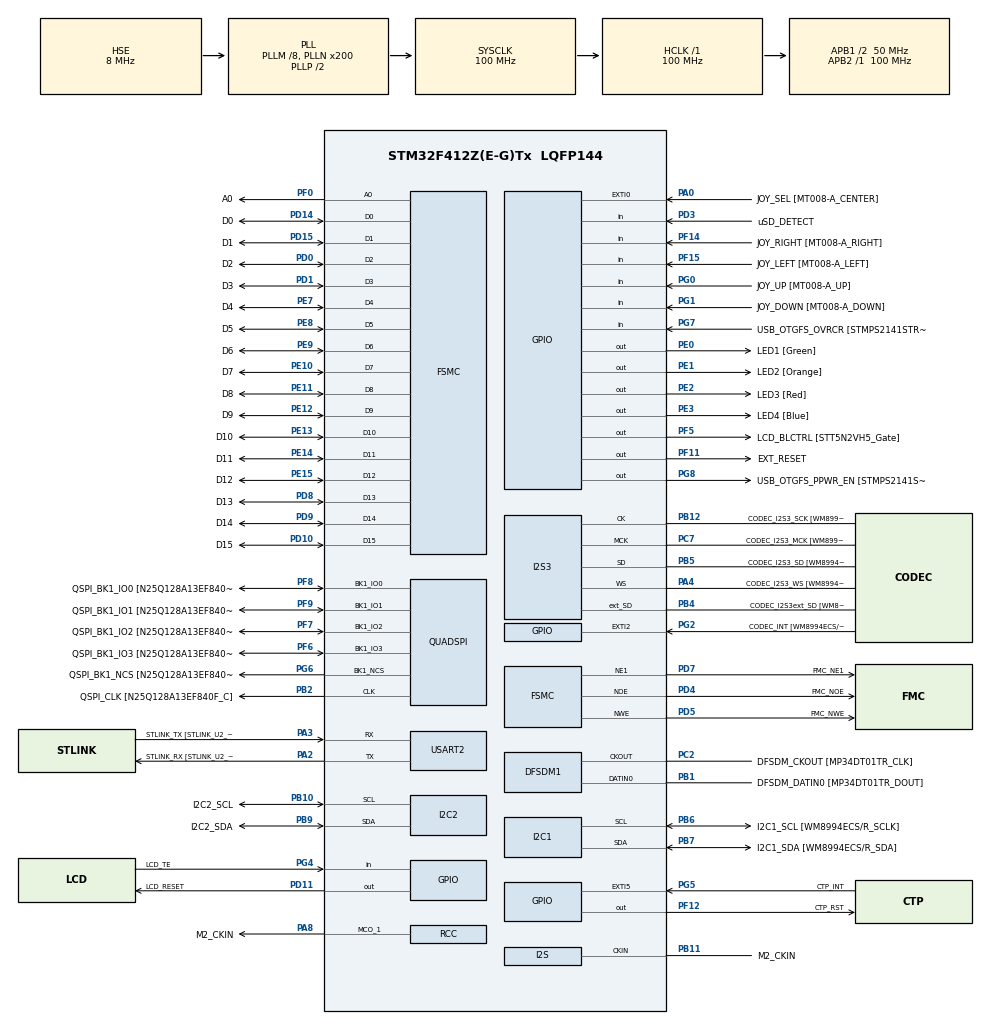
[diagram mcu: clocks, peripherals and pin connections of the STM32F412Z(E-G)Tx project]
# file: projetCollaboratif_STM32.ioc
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DFSDM1.Divider=24
DFSDM1.DmaMode_reg_FIL0=ENABLE
DFSDM1.DmaMode_reg_FIL1=ENABLE
DFSDM1.FastMode_reg_FIL0=ENABLE
DFSDM1.FastMode_reg_FIL1=ENABLE
DFSDM1.FilterOrder_CH0=DFSDM_CHANNEL_SINC1_ORDER
DFSDM1.FilterOrder_CH3=DFSDM_CHANNEL_SINC1_ORDER
DFSDM1.Filter_injChannel0_FIL0=__NULL
DFSDM1.Filter_injChannel3_FIL0=__NULL
DFSDM1.Filter_injChannel3_FIL1=__NULL
DFSDM1.Filter_regChannel_FIL0=DFSDM_CHANNEL_0
DFSDM1.Filter_regChannel_FIL1=DFSDM_CHANNEL_3
DFSDM1.Fosr_FIL0=128
DFSDM1.Fosr_FIL1=128
DFSDM1.Oversampling_CH0=10
DFSDM1.Oversampling_CH3=10
DFSDM1.RightBitShift_CH0=2
DFSDM1.RightBitShift_CH3=2
DFSDM1.Selection=DFSDM_CHANNEL_OUTPUT_CLOCK_AUDIO
DFSDM1.SincOrder_FIL0=DFSDM_FILTER_SINC3_ORDER
DFSDM1.SincOrder_FIL1=DFSDM_FILTER_SINC3_ORDER
DFSDM1.Type_spi_CH3=DFSDM_CHANNEL_SPI_FALLING
Dma.DFSDM1_FLT0.0.Direction=DMA_PERIPH_TO_MEMORY
Dma.DFSDM1_FLT0.0.FIFOMode=DMA_FIFOMODE_DISABLE
Dma.DFSDM1_FLT0.0.Instance=DMA2_Stream6
Dma.DFSDM1_FLT0.0.MemDataAlignment=DMA_MDATAALIGN_WORD
Dma.DFSDM1_FLT0.0.MemInc=DMA_MINC_ENABLE
Dma.DFSDM1_FLT0.0.Mode=DMA_CIRCULAR
Dma.DFSDM1_FLT0.0.PeriphDataAlignment=DMA_PDATAALIGN_WORD
Dma.DFSDM1_FLT0.0.PeriphInc=DMA_PINC_DISABLE
Dma.DFSDM1_FLT0.0.Priority=DMA_PRIORITY_HIGH
Dma.DFSDM1_FLT1.1.Direction=DMA_PERIPH_TO_MEMORY
Dma.DFSDM1_FLT1.1.FIFOMode=DMA_FIFOMODE_DISABLE
Dma.DFSDM1_FLT1.1.Instance=DMA2_Stream4
Dma.DFSDM1_FLT1.1.MemDataAlignment=DMA_MDATAALIGN_WORD
Dma.DFSDM1_FLT1.1.MemInc=DMA_MINC_ENABLE
Dma.DFSDM1_FLT1.1.Mode=DMA_CIRCULAR
Dma.DFSDM1_FLT1.1.PeriphDataAlignment=DMA_PDATAALIGN_WORD
Dma.DFSDM1_FLT1.1.PeriphInc=DMA_PINC_DISABLE
Dma.DFSDM1_FLT1.1.Priority=DMA_PRIORITY_HIGH
Dma.Request0=DFSDM1_FLT0
Dma.Request1=DFSDM1_FLT1
Dma.Request2=SPI3_TX
Dma.SPI3_TX.2.Direction=DMA_MEMORY_TO_PERIPH
Dma.SPI3_TX.2.FIFOMode=DMA_FIFOMODE_DISABLE
Dma.SPI3_TX.2.Instance=DMA1_Stream5
Dma.SPI3_TX.2.MemDataAlignment=DMA_MDATAALIGN_HALFWORD
Dma.SPI3_TX.2.MemInc=DMA_MINC_ENABLE
Dma.SPI3_TX.2.Mode=DMA_CIRCULAR
Dma.SPI3_TX.2.PeriphDataAlignment=DMA_PDATAALIGN_HALFWORD
Dma.SPI3_TX.2.PeriphInc=DMA_PINC_DISABLE
Dma.SPI3_TX.2.Priority=DMA_PRIORITY_HIGH
I2S3.AudioFreq=I2S_AUDIOFREQ_16K
I2S3.ClockSource-Full_Duplex_Master=I2S_CLOCK_EXTERNAL
I2S3.ErrorAudioFreq=-0.01 %
I2S3.FullDuplexMode=I2S_FULLDUPLEXMODE_ENABLE
I2S3.Instance=SPI$Index
I2S3.RealAudioFreq=15.997 KHz
I2S3.VirtualMode=I2S_MODE_MASTER
Mcu.Family=STM32F4
Mcu.Name=STM32F412Z(E-G)Tx
Mcu.Package=LQFP144
NVIC.DFSDM1_FLT0_IRQn=true\:1\:0\:true\:false\:true\:true\:true\:true
NVIC.DFSDM1_FLT1_IRQn=true\:1\:0\:true\:false\:true\:true\:true\:true
NVIC.DMA1_Stream5_IRQn=true\:1\:0\:true\:false\:true\:false\:true\:true
NVIC.DMA2_Stream4_IRQn=true\:1\:0\:true\:false\:true\:false\:true\:true
NVIC.DMA2_Stream6_IRQn=true\:1\:0\:true\:false\:true\:false\:true\:true
NVIC.PriorityGroup=NVIC_PRIORITYGROUP_4
NVIC.SPI3_IRQn=true\:0\:0\:false\:false\:true\:true\:true\:true
PA0.GPIO_Label=JOY_SEL [MT008-A_CENTER]
PA0.Signal=GPXTI0
PA10.GPIO_Label=USB_OTGFS_ID
PA10.Signal=USB_OTG_FS_ID
PA11.GPIO_Label=USB_OTGFS_DM
PA11.Signal=USB_OTG_FS_DM
PA13.GPIO_Label=SWDIO
PA13.Mode=Serial_Wire
PA13.Signal=SYS_JTMS-SWDIO
PA14.GPIO_Label=SWCLK
PA14.Mode=Serial_Wire
PA14.Signal=SYS_JTCK-SWCLK
PA2.GPIO_Label=STLINK_RX [STLINK_U2_RX]
PA2.Mode=Asynchronous
PA2.Signal=USART2_TX
PA3.GPIO_Label=STLINK_TX [STLINK_U2_TX]
PA3.Mode=Asynchronous
PA3.Signal=USART2_RX
PA4.GPIO_Label=CODEC_I2S3_WS [WM8994ECS/R_LRCLK1]
PA4.Mode=Full_Duplex_Master
PA4.Signal=I2S3_WS
PA8.GPIO_Label=M2_CKIN
PA8.Mode=Clock-out-1
PA8.Signal=RCC_MCO_1
PA9.GPIO_Label=USB_OTGFS_VBUS
PA9.Signal=USB_OTG_FS_VBUS
PB1.GPIO_Label=DFSDM_DATIN0 [MP34DT01TR_DOUT]
PB1.Signal=S_DATAIN0DFSDM1
PB10.GPIO_Label=I2C2_SCL
PB10.GPIO_Pu=GPIO_PULLUP
PB10.Mode=I2C
PB10.Signal=I2C2_SCL
PB11.GPIO_Label=M2_CKIN
PB11.Mode=Audio_ClockIn
PB11.Signal=I2S_CKIN
PB12.GPIO_Label=CODEC_I2S3_SCK [WM8994ECS/R_BCLK1]
PB12.Mode=Full_Duplex_Master
PB12.Signal=I2S3_CK
PB2.GPIO_Label=QSPI_CLK [N25Q128A13EF840F_C]
PB2.Mode=Single Bank 1
PB2.Signal=QUADSPI_CLK
PB3.GPIO_Label=SWO
PB3.Signal=SYS_JTDO-SWO
PB4.GPIO_Label=CODEC_I2S3ext_SD [WM8994ECS/R_ACDAT1]
PB4.Mode=Full_Duplex_Master
PB4.Signal=I2S3_ext_SD
PB5.GPIO_Label=CODEC_I2S3_SD [WM8994ECS/R_DACDAT1]
PB5.Mode=Full_Duplex_Master
PB5.Signal=I2S3_SD
PB6.GPIO_Label=I2C1_SCL [WM8994ECS/R_SCLK]
PB6.GPIO_Pu=GPIO_PULLUP
PB6.Mode=I2C
PB6.Signal=I2C1_SCL
PB7.GPIO_Label=I2C1_SDA [WM8994ECS/R_SDA]
PB7.GPIO_Pu=GPIO_PULLUP
PB7.Mode=I2C
PB7.Signal=I2C1_SDA
PB9.GPIO_Label=I2C2_SDA
PB9.GPIO_Pu=GPIO_PULLUP
PB9.Mode=I2C
PB9.Signal=I2C2_SDA
PC10.GPIO_Label=uSD_D2
PC10.Signal=SDIO_D2
PC11.GPIO_Label=uSD_D3
PC11.Signal=SDIO_D3
PC12.GPIO_Label=uSD_CLK
PC12.Signal=SDIO_CK
PC14-OSC32_IN.Mode=LSE-External-Oscillator
PC14-OSC32_IN.Signal=RCC_OSC32_IN
PC15-OSC32_OUT.Mode=LSE-External-Oscillator
PC15-OSC32_OUT.Signal=RCC_OSC32_OUT
PC2.GPIO_Label=DFSDM_CKOUT [MP34DT01TR_CLK]
PC2.Signal=S_CKOUTDFSDM1
PC7.GPIO_Label=CODEC_I2S3_MCK [WM8994ECS/R_MCLK1]
PC7.Mode=Master_Clock_Activated
PC7.Signal=I2S3_MCK
PC8.GPIO_Label=uSD_D0
PC8.Signal=SDIO_D0
PC9.GPIO_Label=uSD_D1
PC9.Signal=SDIO_D1
PD0.GPIO_Label=D2
PD0.Signal=FSMC_D2_DA2
PD1.GPIO_Label=D3
PD1.Signal=FSMC_D3_DA3
PD10.GPIO_Label=D15
PD10.Signal=FSMC_D15_DA15
PD11.GPIO_Label=LCD_RESET
PD11.Signal=GPIO_Output
PD14.GPIO_Label=D0
PD14.Signal=FSMC_D0_DA0
PD15.GPIO_Label=D1
PD15.Signal=FSMC_D1_DA1
PD2.GPIO_Label=uSD_CMD
PD2.Signal=SDIO_CMD
PD3.GPIO_Label=uSD_DETECT
PD3.Signal=GPIO_Input
PD4.GPIO_Label=FMC_NOE
PD4.Signal=FSMC_NOE
PD5.GPIO_Label=FMC_NWE
PD5.Signal=FSMC_NWE
PD7.GPIO_Label=FMC_NE1
PD7.Mode=NorPsramChipSelect1_1
PD7.Signal=FSMC_NE1
PD8.GPIO_Label=D13
PD8.Signal=FSMC_D13_DA13
PD9.GPIO_Label=D14
PD9.Signal=FSMC_D14_DA14
PE0.GPIO_Label=LED1 [Green]
PE0.GPIO_ModeDefaultOutputPP=GPIO_MODE_OUTPUT_OD
PE0.Signal=GPIO_Output
PE1.GPIO_Label=LED2 [Orange]
PE1.GPIO_ModeDefaultOutputPP=GPIO_MODE_OUTPUT_OD
PE1.Signal=GPIO_Output
PE10.GPIO_Label=D7
PE10.Signal=FSMC_D7_DA7
PE11.GPIO_Label=D8
PE11.Signal=FSMC_D8_DA8
PE12.GPIO_Label=D9
PE12.Signal=FSMC_D9_DA9
PE13.GPIO_Label=D10
PE13.Signal=FSMC_D10_DA10
PE14.GPIO_Label=D11
PE14.Signal=FSMC_D11_DA11
PE15.GPIO_Label=D12
PE15.Signal=FSMC_D12_DA12
PE2.GPIO_Label=LED3 [Red]
PE2.GPIO_ModeDefaultOutputPP=GPIO_MODE_OUTPUT_OD
PE2.Signal=GPIO_Output
PE3.GPIO_Label=LED4 [Blue]
PE3.GPIO_ModeDefaultOutputPP=GPIO_MODE_OUTPUT_OD
PE3.Signal=GPIO_Output
PE4.GPIO_Label=DFSDM_DATIN3 [MP23DB01MM_DOUT]
PE4.Signal=S_DATAIN3DFSDM1
PE7.GPIO_Label=D4
PE7.Signal=FSMC_D4_DA4
PE8.GPIO_Label=D5
PE8.Signal=FSMC_D5_DA5
PE9.GPIO_Label=D6
PE9.Signal=FSMC_D6_DA6
PF0.GPIO_Label=A0
PF0.Signal=FSMC_A0
PF11.GPIO_Label=EXT_RESET
PF11.Signal=GPIO_Output
PF12.GPIO_Label=CTP_RST
PF12.Signal=GPIO_Output
PF14.GPIO_Label=JOY_RIGHT [MT008-A_RIGHT]
PF14.Signal=GPIO_Input
PF15.GPIO_Label=JOY_LEFT [MT008-A_LEFT]
PF15.Signal=GPIO_Input
PF5.GPIO_Label=LCD_BLCTRL [STT5N2VH5_Gate]
PF5.Signal=GPIO_Output
PF6.GPIO_Label=QSPI_BK1_IO3 [N25Q128A13EF840F_DQ3]
PF6.Mode=Single Bank 1
PF6.Signal=QUADSPI_BK1_IO3
PF7.GPIO_Label=QSPI_BK1_IO2 [N25Q128A13EF840F_DQ2]
PF7.Mode=Single Bank 1
PF7.Signal=QUADSPI_BK1_IO2
PF8.GPIO_Label=QSPI_BK1_IO0 [N25Q128A13EF840F_DQ0]
PF8.Mode=Single Bank 1
PF8.Signal=QUADSPI_BK1_IO0
PF9.GPIO_Label=QSPI_BK1_IO1 [N25Q128A13EF840F_DQ1]
PF9.Mode=Single Bank 1
PF9.Signal=QUADSPI_BK1_IO1
PG0.GPIO_Label=JOY_UP [MT008-A_UP]
PG0.Signal=GPIO_Input
PG1.GPIO_Label=JOY_DOWN [MT008-A_DOWN]
PG1.Signal=GPIO_Input
PG2.GPIO_Label=CODEC_INT [WM8994ECS/R_ADCLRCLK1/GPIO1]
PG2.Signal=GPXTI2
PG4.GPIO_Label=LCD_TE
PG4.Signal=GPIO_Input
PG5.GPIO_Label=CTP_INT
PG5.Signal=GPXTI5
PG6.GPIO_Label=QSPI_BK1_NCS [N25Q128A13EF840F_S]
PG6.Mode=Single Bank 1
PG6.Signal=QUADSPI_BK1_NCS
PG7.GPIO_Label=USB_OTGFS_OVRCR [STMPS2141STR_FAULT]
PG7.Signal=GPIO_Input
PG8.GPIO_Label=USB_OTGFS_PPWR_EN [STMPS2141STR_EN]
PG8.GPIO_ModeDefaultOutputPP=GPIO_MODE_OUTPUT_OD
PG8.PinState=GPIO_PIN_SET
PG8.Signal=GPIO_Output
PH0\ -\ OSC_IN.GPIO_Label=STLK_MCO
PH0\ -\ OSC_IN.Mode=HSE-External-Clock-Source
PH0\ -\ OSC_IN.Signal=RCC_OSC_IN
PH1\ -\ OSC_OUT.Mode=HSE-External-Clock-Source
PH1\ -\ OSC_OUT.Signal=RCC_OSC_OUT
ProjectManager.HeapSize=0x200
ProjectManager.StackSize=0x400
ProjectManager.TargetToolchain=STM32CubeIDE
QUADSPI.ChipSelectHighTime=QSPI_CS_HIGH_TIME_5_CYCLE
QUADSPI.ClockPrescaler=0
QUADSPI.FifoThreshold=4
QUADSPI.FlashSize=24
QUADSPI.SampleShifting=QSPI_SAMPLE_SHIFTING_HALFCYCLE
RCC.48MHZClocksFreq_Value=48000000
RCC.AHBFreq_Value=100000000
RCC.APB1CLKDivider=RCC_HCLK_DIV2
RCC.APB1Freq_Value=50000000
RCC.APB1TimFreq_Value=100000000
RCC.APB2Freq_Value=100000000
RCC.APB2TimFreq_Value=100000000
RCC.CortexFreq_Value=100000000
RCC.HCLKFreq_Value=100000000
RCC.HSE_VALUE=8000000
RCC.HSI_VALUE=16000000
RCC.PLLI2SM=8
RCC.PLLI2SN=344
RCC.PLLI2SQ=7
RCC.PLLI2SR=7
RCC.PLLM=8
RCC.PLLN=200
RCC.PLLQ=7
RCC.PLLSourceVirtual=RCC_PLLSOURCE_HSE
RCC.RCC_MCO1Source=RCC_MCO1SOURCE_HSE
RCC.SYSCLKFreq_VALUE=100000000
RCC.SYSCLKSource=RCC_SYSCLKSOURCE_PLLCLK
RCC.USBFreq_Value=28571428.57142857
RCC.VCOOutputFreq_Value=200000000
SH.FSMC_A0.0=FSMC_A0,A0_1
SH.FSMC_D0_DA0.0=FSMC_D0,16b-d1
SH.FSMC_D10_DA10.0=FSMC_D10,16b-d1
SH.FSMC_D11_DA11.0=FSMC_D11,16b-d1
SH.FSMC_D12_DA12.0=FSMC_D12,16b-d1
SH.FSMC_D13_DA13.0=FSMC_D13,16b-d1
SH.FSMC_D14_DA14.0=FSMC_D14,16b-d1
SH.FSMC_D15_DA15.0=FSMC_D15,16b-d1
SH.FSMC_D1_DA1.0=FSMC_D1,16b-d1
SH.FSMC_D2_DA2.0=FSMC_D2,16b-d1
SH.FSMC_D3_DA3.0=FSMC_D3,16b-d1
SH.FSMC_D4_DA4.0=FSMC_D4,16b-d1
SH.FSMC_D5_DA5.0=FSMC_D5,16b-d1
SH.FSMC_D6_DA6.0=FSMC_D6,16b-d1
SH.FSMC_D7_DA7.0=FSMC_D7,16b-d1
SH.FSMC_D8_DA8.0=FSMC_D8,16b-d1
SH.FSMC_D9_DA9.0=FSMC_D9,16b-d1
SH.FSMC_NOE.0=FSMC_NOE,Lcd1
SH.FSMC_NWE.0=FSMC_NWE,Lcd1
SH.S_CKOUTDFSDM1.0=DFSDM1_CKOUT,PDM_SPI_input_from_ch0_and_internal_clock
SH.S_CKOUTDFSDM1.1=DFSDM1_CKOUT,CKOUT
SH.S_CKOUTDFSDM1.2=DFSDM1_CKOUT,PDM_SPI_Input_from_ch30_and_Internal_Clock
SH.S_DATAIN0DFSDM1.0=DFSDM1_DATIN0,PDM_SPI_input_from_ch0_and_internal_clock
SH.S_DATAIN0DFSDM1.1=DFSDM1_DATIN0,PDM_SPI_Input_from_ch30_and_Internal_Clock
SH.S_DATAIN3DFSDM1.0=DFSDM1_DATIN3
USART2.VirtualMode=VM_ASYNC
board=STM32F412G-DISCO

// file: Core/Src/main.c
/* USER CODE BEGIN Header */
/**
 *******************************************************************************
 * @file           : main.c
 * @brief          : Main program body
 *******************************************************************************
 * @attention
 *
 * Copyright (c) 2024 STMicroelectronics.
 * All rights reserved.
 *
 * This software is licensed under terms that can be found in the LICENSE file
 * in the root directory of this software component.
 * If no LICENSE file comes with this software, it is provided AS-IS.
 *
 *******************************************************************************
 */
/* USER CODE END Header */
#include "main.h"
#include "dfsdm.h"
#include "dma.h"
#include "i2c.h"
#include "i2s.h"
#include "quadspi.h"
#include "usart.h"
#include "gpio.h"
#include "fsmc.h"

/* USER CODE BEGIN Includes */
#include "app.h"
#include <stdio.h>
#include "string.h"
#include "../../../Drivers/BSP/STM32412G-Discovery/stm32412g_discovery.h"
#include "../../../Drivers/BSP/STM32412G-Discovery/stm32412g_discovery_lcd.h"
// #include "stm32412g_discovery_io.h"
/* USER CODE END Includes */

/* USER CODE BEGIN PTD */
typedef struct
{
  uint16_t x;             // Position X
  uint16_t y;             // Position Y
  uint16_t width;         // Largeur
  uint16_t height;        // Hauteur
  uint32_t color;         // Couleur par défaut
  uint32_t selectedColor; // Couleur en surbrillance
  const char *label;      // Texte du bouton
} Button;

JOYState_TypeDef lastJoystickState = JOY_NONE; // Dernier état du joystick
uint32_t lastDebounceTime = 0;                 // Horodatage du dernier changement
/* USER CODE END PTD */

/* USER CODE BEGIN PM */
#define SaturaLH(N, L, H) (((N) < (L)) ? (L) : (((N) > (H)) ? (H) : (N)))
#define SIZE_ECHO 3
/* USER CODE END PM */

/* USER CODE BEGIN PV */
extern DFSDM_Filter_HandleTypeDef hdfsdm1_filter0;   // handle fitre passe bas DFSDM
extern DFSDM_Filter_HandleTypeDef hdfsdm1_filter1;   // handle fitre passe bas DFSDM
extern DFSDM_Channel_HandleTypeDef hdfsdm1_channel0; // handle channel passe bas DFSDM
extern DFSDM_Channel_HandleTypeDef hdfsdm1_channel3; // handle channel passe bas DFSDM
DMA_HandleTypeDef hLeftDma;                          // handle DMA géré logiciel
DMA_HandleTypeDef hRightDma;                         // handle DMA géré logiciel
I2S_HandleTypeDef haudio_i2s;                        // handle I2S géré logiciel
DMA_HandleTypeDef hdma_i2s_tx;                       // handle I2S géré logiciel
AUDIO_DrvTypeDef *audio_drv;
int32_t LeftRecBuff[2048];   // buffer d'entree gauche
int32_t RightRecBuff[2048];  // buffer d'entree droite
int16_t DelayBuff[20][4096]; // delayed buffer combining left and right
uint16_t idxarray = 0;
int16_t PlayBuff[4096];               // buffer de sortie
uint32_t DmaLeftRecHalfBuffCplt = 0;  // flag de buffer
uint32_t DmaLeftRecBuffCplt = 0;      // flag de buffer
uint32_t DmaRightRecHalfBuffCplt = 0; // flag de buffer
uint32_t DmaRightRecBuffCplt = 0;     // flag de buffer
uint32_t PlaybackStarted = 0;         // flag de buffer
Button buttons[4];                    // Tableau pour les 4 boutons
uint8_t selectedButton = 0;           // Indice du bouton sélectionné
uint8_t previousSelectedButton = 0;   // Variable pour suivre l'état précédent de la sélection
uint8_t EffetNB = 0;                  // numéro d'effet
uint16_t istart = 1024;               // début milieu de buffer
uint16_t istop = 2048;                // fin buffer
int16_t size_echo = 0;                // taille de l'écho

/* USER CODE END PV */

void SystemClock_Config(void);
void PeriphCommonClock_Config(void);
/* USER CODE BEGIN PFP */
static void Playback_Init(void);
void InitializeButtons();            // initialise bouton de l'écran
void HighlightButton(uint8_t index); // change couleur écran
void HandleJoystick();               // gère le bouton
/* USER CODE END PFP */

/* USER CODE BEGIN 0 */

/**
 * @brief Initialisation des boutons à l'écran LCD
 */
void InitializeButtons()
{
  // Définir les positions, dimensions, couleurs et labels des boutons
  buttons[0] = (Button){20, 60, 80, 40, LCD_COLOR_BLUE, LCD_COLOR_RED, "Effet 1"};
  buttons[1] = (Button){140, 60, 80, 40, LCD_COLOR_BLUE, LCD_COLOR_RED, "Effet 2"};
  buttons[2] = (Button){20, 140, 80, 40, LCD_COLOR_BLUE, LCD_COLOR_RED, "Effet 3"};
  buttons[3] = (Button){140, 140, 80, 40, LCD_COLOR_BLUE, LCD_COLOR_RED, "Effet 4"};

  // Dessiner les boutons avec leurs labels
  for (uint8_t i = 0; i < 4; i++)
  {
    BSP_LCD_SetTextColor(buttons[i].color);
    BSP_LCD_FillRect(buttons[i].x, buttons[i].y, buttons[i].width, buttons[i].height);

    // Afficher le label centré sur chaque bouton
    BSP_LCD_SetTextColor(LCD_COLOR_WHITE);  // Couleur du texte
    BSP_LCD_SetBackColor(buttons[i].color); // Fond du texte
    BSP_LCD_DisplayStringAt(
        buttons[i].x + (buttons[i].width / 2) - (strlen(buttons[i].label) * 4), // Ajuster le texte à la taille
        buttons[i].y + (buttons[i].height / 2) - 8,                             // Centrer verticalement
        (uint8_t *)buttons[i].label,
        LEFT_MODE);
  }
  previousSelectedButton = selectedButton; // Initialiser l'état précédent
  HighlightButton(0);                      // Mettre le premier bouton en surbrillance
}

void HighlightButton(uint8_t index)
{
  // Réinitialiser tous les boutons à leur couleur par défaut
  for (uint8_t i = 0; i < 4; i++)
  {
    BSP_LCD_SetTextColor(i == index ? buttons[i].selectedColor : buttons[i].color);
    BSP_LCD_FillRect(buttons[i].x, buttons[i].y, buttons[i].width, buttons[i].height);

    // Réafficher les labels avec les couleurs mises à jour
    BSP_LCD_SetTextColor(LCD_COLOR_WHITE);                                          // Couleur du texte
    BSP_LCD_SetBackColor(i == index ? buttons[i].selectedColor : buttons[i].color); // Fond du texte
    BSP_LCD_DisplayStringAt(
        buttons[i].x + (buttons[i].width / 2) - (strlen(buttons[i].label) * 4), // Ajuster le texte à la taille
        buttons[i].y + (buttons[i].height / 2) - 8,                             // Centrer verticalement
        (uint8_t *)buttons[i].label,
        LEFT_MODE);
  }

  // Mettre à jour l'état précédent
  previousSelectedButton = index;
}

void ResetButtons()
{
  // Met à jour les couleurs : sélectionné en vert, les autres en bleu
  for (uint8_t i = 0; i < 4; i++)
  {
    if (i == selectedButton)
    {
      buttons[i].color = LCD_COLOR_GREEN;
      buttons[i].selectedColor = LCD_COLOR_GREEN;
      EffetNB = i;
    }
    else
    {
      buttons[i].color = LCD_COLOR_BLUE;
      buttons[i].selectedColor = LCD_COLOR_RED;
    }
  }

  // Redessiner tous les boutons avec le bouton sélectionné en vert
  HighlightButton(selectedButton);
}

void HandleJoystick()
{
  JOYState_TypeDef joystickState = BSP_JOY_GetState();
  uint32_t currentTime = HAL_GetTick(); // Obtenir le temps système actuel

  if (currentTime > lastDebounceTime + DEBONCE_DELAY) // anti rebond pour empecher glitch lors du maintient
  {
    switch (joystickState)
    {
    case JOY_UP:
      if (selectedButton > 1)
        selectedButton -= 2; // Bouton au-dessus

      lastDebounceTime = currentTime;
      break;
    case JOY_DOWN:
      if (selectedButton < 2)
        selectedButton += 2; // Bouton en dessous

      lastDebounceTime = currentTime;
      break;
    case JOY_LEFT:
      if (selectedButton % 2 == 1)
        selectedButton--; // Bouton à gauche

      lastDebounceTime = currentTime;
      break;
    case JOY_RIGHT:
      if (selectedButton % 2 == 0)
        selectedButton++; // Bouton à droite

      lastDebounceTime = currentTime;
      break;
    case JOY_SEL:
      ResetButtons(); // Appliquer la sélection

      lastDebounceTime = currentTime;
      return; // Pas besoin de surbrillance supplémentaire

    default:
      return;
    }

    HighlightButton(selectedButton); // Mettre à jour la surbrillance
  }
}

/* USER CODE END 0 */

int main(void)
{

  /* MCU Configuration--------------------------------------------------------*/

  /* Reset of all peripherals, Initializes the Flash interface and the Systick. */
  HAL_Init();

  /* Configure the system clock */
  SystemClock_Config();

  /* Configure the peripherals common clocks */
  PeriphCommonClock_Config();

  /* Initialize all configured peripherals */
  MX_GPIO_Init();
  MX_DMA_Init();
  MX_FSMC_Init();
  MX_I2C1_Init();
  MX_I2C2_Init();
  MX_I2S3_Init();
  MX_QUADSPI_Init();
  MX_USART2_UART_Init();
  MX_DFSDM1_Init();
  BSP_LCD_Init();
  BSP_LCD_Clear(LCD_COLOR_WHITE);
  BSP_JOY_Init(JOY_MODE_GPIO);

  /* USER CODE BEGIN 2 */
  InitializeButtons();
  /* USER CODE END 2 */

  /* Infinite loop */
  /* USER CODE BEGIN WHILE */
  audioReceptionInit(); // init des fonctions audios
  UART_init();          // init des autres fichiers
  I2C_init();
  I2S_init();
  app_init();
  while (1)
  {

    /* USER CODE END WHILE */

    /* USER CODE BEGIN 3 */
    UART_periodic(); // boucle des autres fichier
    I2C_periodic();
    I2S_periodic();
    app_periodic();
    // storingAudioIntoBuffer(); //retour sans delai
    HandleJoystick(); // gestion du bouton
    echobox(EffetNB); // création de l'echo
  }
}

/* USER CODE END 3 */

void SystemClock_Config(void)
{
  RCC_OscInitTypeDef RCC_OscInitStruct = {0};
  RCC_ClkInitTypeDef RCC_ClkInitStruct = {0};

  /** Macro to configure the PLL multiplication factor
   */
  __HAL_RCC_DFSDM1AUDIO_CONFIG(RCC_DFSDM1AUDIOCLKSOURCE_I2SAPB1);

  /** Configure the main internal regulator output voltage
   */
  __HAL_RCC_PWR_CLK_ENABLE();
  __HAL_PWR_VOLTAGESCALING_CONFIG(PWR_REGULATOR_VOLTAGE_SCALE1);

  /** Initializes the RCC Oscillators according to the specified parameters
   * in the RCC_OscInitTypeDef structure.
   */
  RCC_OscInitStruct.OscillatorType = RCC_OSCILLATORTYPE_HSE;
  RCC_OscInitStruct.HSEState = RCC_HSE_BYPASS;
  RCC_OscInitStruct.PLL.PLLState = RCC_PLL_ON;
  RCC_OscInitStruct.PLL.PLLSource = RCC_PLLSOURCE_HSE;
  RCC_OscInitStruct.PLL.PLLM = 8;
  RCC_OscInitStruct.PLL.PLLN = 200;
  RCC_OscInitStruct.PLL.PLLP = RCC_PLLP_DIV2;
  RCC_OscInitStruct.PLL.PLLQ = 7;
  RCC_OscInitStruct.PLL.PLLR = 2;
  if (HAL_RCC_OscConfig(&RCC_OscInitStruct) != HAL_OK)
  {
    Error_Handler();
  }

  /** Initializes the CPU, AHB and APB buses clocks
   */
  RCC_ClkInitStruct.ClockType = RCC_CLOCKTYPE_HCLK | RCC_CLOCKTYPE_SYSCLK | RCC_CLOCKTYPE_PCLK1 | RCC_CLOCKTYPE_PCLK2;
  RCC_ClkInitStruct.SYSCLKSource = RCC_SYSCLKSOURCE_PLLCLK;
  RCC_ClkInitStruct.AHBCLKDivider = RCC_SYSCLK_DIV1;
  RCC_ClkInitStruct.APB1CLKDivider = RCC_HCLK_DIV2;
  RCC_ClkInitStruct.APB2CLKDivider = RCC_HCLK_DIV1;

  if (HAL_RCC_ClockConfig(&RCC_ClkInitStruct, FLASH_LATENCY_3) != HAL_OK)
  {
    Error_Handler();
  }
  HAL_RCC_MCOConfig(RCC_MCO1, RCC_MCO1SOURCE_HSE, RCC_MCODIV_1);
}

void PeriphCommonClock_Config(void)
{
  RCC_PeriphCLKInitTypeDef PeriphClkInitStruct = {0};

  /** Initializes the peripherals clock
   */
  PeriphClkInitStruct.PeriphClockSelection = RCC_PERIPHCLK_PLLI2S | RCC_PERIPHCLK_I2S_APB1 | RCC_PERIPHCLK_DFSDM1 | RCC_PERIPHCLK_DFSDM1_AUDIO;
  PeriphClkInitStruct.PLLI2S.PLLI2SN = 344;
  PeriphClkInitStruct.PLLI2S.PLLI2SM = 8;
  PeriphClkInitStruct.PLLI2S.PLLI2SR = 7;
  PeriphClkInitStruct.PLLI2S.PLLI2SQ = 7;
  PeriphClkInitStruct.Dfsdm1ClockSelection = RCC_DFSDM1CLKSOURCE_APB2;
  PeriphClkInitStruct.Dfsdm1AudioClockSelection = RCC_DFSDM1AUDIOCLKSOURCE_I2SAPB1;
  PeriphClkInitStruct.PLLI2SSelection = RCC_PLLI2SCLKSOURCE_PLLSRC;
  PeriphClkInitStruct.I2sApb1ClockSelection = RCC_I2SAPB1CLKSOURCE_PLLI2S;
  if (HAL_RCCEx_PeriphCLKConfig(&PeriphClkInitStruct) != HAL_OK)
  {
    Error_Handler();
  }
}

/* USER CODE BEGIN 4 */
int __io_putchar(int ch) // gestion printf
{
  HAL_UART_Transmit(&huart2, (uint8_t *)&ch, 1, 0xFFFF);
  return ch;
}

// new function here
void HAL_DFSDM_FilterRegConvHalfCpltCallback(DFSDM_Filter_HandleTypeDef *hdfsdm_filter)
{
  if (hdfsdm_filter == &hdfsdm1_filter0)
  {
    DmaLeftRecHalfBuffCplt = 1;
  }
  else
  {
    DmaRightRecHalfBuffCplt = 1;
  }
}
void HAL_DFSDM_FilterRegConvCpltCallback(DFSDM_Filter_HandleTypeDef *hdfsdm_filter)
{
  if (hdfsdm_filter == &hdfsdm1_filter1)
  {
    DmaLeftRecBuffCplt = 1;
  }
  else
  {
    DmaRightRecBuffCplt = 1;
  }
}
static void Playback_Init(void)
{
  uint16_t buffer_fake[16] = {0x00};

  /* Initialize I2S */
  __HAL_I2S_RESET_HANDLE_STATE(&haudio_i2s);

  /* Configure the I2S peripheral */
  haudio_i2s.Instance = SPI3;
  /* Disable I2S block */
  __HAL_I2S_DISABLE(&haudio_i2s);

  /* I2S peripheral configuration */
  haudio_i2s.Init.AudioFreq = I2S_AUDIOFREQ_16K;
  haudio_i2s.Init.ClockSource = I2S_CLOCK_PLL;
  haudio_i2s.Init.CPOL = I2S_CPOL_LOW;
  haudio_i2s.Init.DataFormat = I2S_DATAFORMAT_16B;
  haudio_i2s.Init.MCLKOutput = I2S_MCLKOUTPUT_ENABLE;
  haudio_i2s.Init.Mode = I2S_MODE_MASTER_TX;
  haudio_i2s.Init.Standard = I2S_STANDARD_PHILIPS;
  haudio_i2s.Init.FullDuplexMode = I2S_FULLDUPLEXMODE_DISABLE;

  /* Init the I2S */
  HAL_I2S_Init(&haudio_i2s);

  /* Enable I2S block */
  __HAL_I2S_ENABLE(&haudio_i2s);

  /* I2C Init */
  AUDIO_IO_Init();

  /* Initialize audio driver */
  if (WM8994_ID != wm8994_drv.ReadID(AUDIO_I2C_ADDRESS))
  {
    Error_Handler();
  }

  audio_drv = &wm8994_drv;
  audio_drv->Reset(AUDIO_I2C_ADDRESS);
  /* Send fake I2S data in order to generate MCLK needed by WM8994 to set its registers
   * MCLK is generated only when a data stream is sent on I2S */
  HAL_I2S_Transmit_DMA(&haudio_i2s, buffer_fake, 16);

  if (0 != audio_drv->Init(AUDIO_I2C_ADDRESS, OUTPUT_DEVICE_HEADPHONE, 90, AUDIO_FREQUENCY_16K))
  {
    Error_Handler();
  }
  /* Stop sending fake I2S data */
  HAL_I2S_DMAStop(&haudio_i2s);
}

void audioReceptionInit(void)
{

  Playback_Init();
  BSP_LED_Init(LED3);
  /* Start DFSDM conversions */
  if (HAL_OK != HAL_DFSDM_FilterRegularStart_DMA(&hdfsdm1_filter0, RightRecBuff, 2048))
  {
    Error_Handler();
  }
  if (HAL_OK != HAL_DFSDM_FilterRegularStart_DMA(&hdfsdm1_filter1, LeftRecBuff, 2048))
  {
    Error_Handler();
  }
}
void storingAudioIntoBuffer(void)
{

  if ((DmaLeftRecHalfBuffCplt == 1) && (DmaRightRecHalfBuffCplt == 1))
  {
    /* Store values on Play buff */
    for (uint16_t i = 0; i < 1024; i++)
    {
      PlayBuff[2 * i] = SaturaLH((LeftRecBuff[i] >> 8), -32768, 32767);
      PlayBuff[(2 * i) + 1] = SaturaLH((RightRecBuff[i] >> 8), -32768, 32767);
    }
    if (PlaybackStarted == 0)
    {
      if (0 != audio_drv->Play(AUDIO_I2C_ADDRESS, (uint16_t *)&PlayBuff[0], 4096))
      {
        Error_Handler();
      }
      if (HAL_OK != HAL_I2S_Transmit_DMA(&haudio_i2s, (uint16_t *)&PlayBuff[0], 4096))
      {
        Error_Handler();
      }
      PlaybackStarted = 1;
    }
    DmaLeftRecHalfBuffCplt = 0;
    DmaRightRecHalfBuffCplt = 0;
  }
  if ((DmaLeftRecBuffCplt == 1) && (DmaRightRecBuffCplt == 1))
  {
    /* Store values on Play buff */

    for (uint16_t i = 1024; i < 2048; i++)
    {
      PlayBuff[2 * i] = SaturaLH((LeftRecBuff[i] >> 8), -32768, 32767);
      PlayBuff[(2 * i) + 1] = SaturaLH((RightRecBuff[i] >> 8), -32768, 32767);
    }

    DmaLeftRecBuffCplt = 0;
    DmaRightRecBuffCplt = 0;
  }
}
void proccessEcho(uint16_t idx_start, uint16_t idx_stop, int32_t *p_in_left, int32_t *p_in_right, int16_t *p_out, int16_t size_echo)
{
  uint16_t i = 0;                            // gestion de l'emplacement des l'echo
  int16_t idx_m1 = idxarray - size_echo;     // gestion de l'emplacement des l'echo
  int16_t idx_m2 = idxarray - size_echo * 2; // gestion de l'emplacement des l'echo
  int16_t idx_m3 = idxarray - size_echo * 3; // gestion de l'emplacement des l'echo
  if (idx_m1 < 0)                            // permettant d'empecher les index negatifs
  {
    idx_m1 += 20;
  }
  if (idx_m2 < 0)
  {
    idx_m2 += 20;
  }
  if (idx_m3 < 0)
  {
    idx_m3 += 20;
  }
  for (i = idx_start; i < idx_stop; i++) // for pour remplir les buffers (du start au stop)
  {
    DelayBuff[idxarray][2 * i] = SaturaLH((p_in_left[i] >> 8), -32768, 32767);
    DelayBuff[idxarray][(2 * i) + 1] = SaturaLH((p_in_right[i] >> 8), -32768, 32767);
    p_out[2 * i] = DelayBuff[idxarray][2 * i] + DelayBuff[idx_m1][2 * i] / 2 + DelayBuff[idx_m2][2 * i] / 3 + DelayBuff[idx_m3][2 * i] / 4;
    p_out[(2 * i) + 1] = DelayBuff[idxarray][(2 * i) + 1] + DelayBuff[idx_m1][(2 * i) + 1] / 2 + DelayBuff[idx_m2][(2 * i) + 1] / 3 + DelayBuff[idx_m3][(2 * i) + 1] / 4;
  }
  if (i == 2048) // incrementation de la ligne si i= 2048
  {
    idxarray++;
  }
  if (idxarray == 20) // remise a zero
  {
    idxarray = 0;
  }
}
void echobox(uint8_t EffetNB)
{
  switch (EffetNB)
  {
  case 0:
    size_echo = 1;
    break;
  case 1:
    size_echo = 3;
    break;
  case 2:
    size_echo = 5;
    break;
  case 3:
    size_echo = 6;
    break;
  default:
    break;
  }

  if ((DmaLeftRecHalfBuffCplt == 1) && (DmaRightRecHalfBuffCplt == 1))
  {
    /* Store values on Play buff */

    proccessEcho(0, 1024, LeftRecBuff, RightRecBuff, PlayBuff, size_echo);

    if (PlaybackStarted == 0)
    {
      if (0 != audio_drv->Play(AUDIO_I2C_ADDRESS, (uint16_t *)&PlayBuff[0], 4096))
      {
        Error_Handler();
      }
      if (HAL_OK != HAL_I2S_Transmit_DMA(&haudio_i2s, (uint16_t *)&PlayBuff[0], 4096))
      {
        Error_Handler();
      }
      PlaybackStarted = 1;
    }
    DmaLeftRecHalfBuffCplt = 0;
    DmaRightRecHalfBuffCplt = 0;
  }
  if ((DmaLeftRecBuffCplt == 1) && (DmaRightRecBuffCplt == 1))
  {
    /* Store values on Play buff */

    proccessEcho(1024, 2048, LeftRecBuff, RightRecBuff, PlayBuff, size_echo);

    DmaLeftRecBuffCplt = 0;
    DmaRightRecBuffCplt = 0;
  }
}
/**
 * @brief  This function is executed in case of error occurrence.
 * @param  None
 * @retval None
 */
/* USER CODE END 4 */

void Error_Handler(void)
{
  __disable_irq();
  while (1)
  {
  }
}
